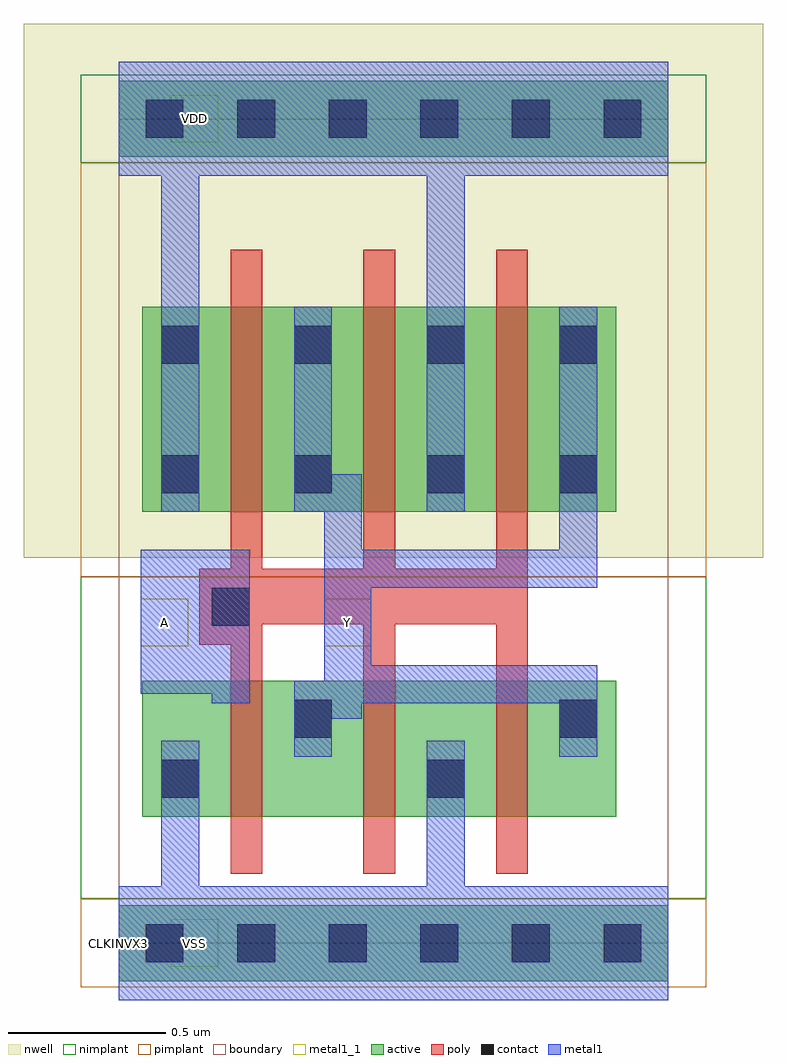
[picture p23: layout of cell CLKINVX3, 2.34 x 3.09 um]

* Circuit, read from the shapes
.subckt CLKINVX3 A VDD VSS Y
M1 Y A VSS VSS nfet w=0.43u l=0.1u m=3
M2 Y A VDD VDD pfet w=0.65u l=0.1u m=3
.ends

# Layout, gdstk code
import gdstk
lib = gdstk.Library(unit=1e-6, precision=5e-10)
def R(c, l, rs):  # rectangles x0, y0, x1, y1
    for r in rs: c.add(gdstk.rectangle(r[:2], r[2:], *l))
def A(c, l, x, y, w, h, nx, ny, dx, dy):  # array of equal rectangles
    R(c, l, [(x+i*dx, y+j*dy, x+i*dx+w, y+j*dy+h) for i in range(nx) for j in range(ny)])
active = (1, 0)
nwell = (2, 0)
poly = (3, 0)
nimplant = (4, 0)
pimplant = (5, 0)
contact = (6, 0)
metal1 = (7, 0)
metal1_1 = (7, 1)
boundary = (62, 0)

clkinvx3 = lib.new_cell('CLKINVX3')
R(clkinvx3, active, [(0,-0.12,1.74,0.12), (0.075,0.4,1.575,0.83), (0.075,1.365,1.575,2.015), (0,2.49,1.74,2.73)])
R(clkinvx3, nwell, [(-0.3,1.22,2.04,2.91)])
A(clkinvx3, poly, 0.355, 1.185, 0.1, 1.01, 3, 1, 0.42, 0)
R(clkinvx3, poly, [(0.355,0.22,0.455,0.945), (0.775,0.22,0.875,1.01), (1.195,0.22,1.295,1.01), (0.255,0.945,0.455,1.01), (0.255,1.01,1.295,1.185)])
R(clkinvx3, nimplant, [(-0.12,0.14,1.86,1.16), (-0.12,2.47,1.86,2.75)])
R(clkinvx3, pimplant, [(-0.12,-0.14,1.86,0.14), (-0.12,1.16,1.86,2.47)])
A(clkinvx3, contact, 0.085, -0.06, 0.12, 0.12, 6, 2, 0.29, 2.61)
A(clkinvx3, contact, 0.135, 1.425, 0.12, 0.12, 4, 2, 0.42, 0.41)
R(clkinvx3, contact, [(0.135,0.46,0.255,0.58), (0.975,0.46,1.095,0.58), (0.555,0.65,0.675,0.77), (1.395,0.65,1.515,0.77), (0.295,1.005,0.415,1.125)])
R(clkinvx3, metal1, [(0,-0.18,1.74,0.18), (0.135,0.18,0.255,0.64), (0.975,0.18,1.095,0.64), (0.555,0.59,0.675,0.71), (1.395,0.59,1.515,0.76), (0.555,0.71,0.77,0.76), (0.295,0.76,0.415,0.79), (0.555,0.76,1.515,0.83), (0.07,0.79,0.415,1.245), (0.65,0.83,1.515,0.88), (0.65,0.88,0.8,1.125), (0.65,1.125,1.515,1.245), (0.65,1.245,0.77,1.365), (1.395,1.245,1.515,2.015), (0.135,1.365,0.255,2.43), (0.555,1.365,0.77,1.485), (0.975,1.365,1.095,2.43), (0.555,1.485,0.675,2.015), (0,2.43,1.74,2.79)])
R(clkinvx3, metal1_1, [(0.165,-0.075,0.315,0.075), (0.07,0.94,0.22,1.09), (0.65,0.94,0.8,1.09), (0.165,2.535,0.315,2.685)])
R(clkinvx3, boundary, [(0,0,1.74,2.61)])
clkinvx3.add(gdstk.Label('CLKINVX3', (0,0), layer=63, texttype=0))
clkinvx3.add(gdstk.Label('VSS', (0.24,0), layer=7, texttype=3))
clkinvx3.add(gdstk.Label('VDD', (0.24,2.61), layer=7, texttype=3))
clkinvx3.add(gdstk.Label('A', (0.145,1.015), layer=7, texttype=3))
clkinvx3.add(gdstk.Label('Y', (0.725,1.015), layer=7, texttype=3))

lib.write_gds('CLKINVX3.gds')
